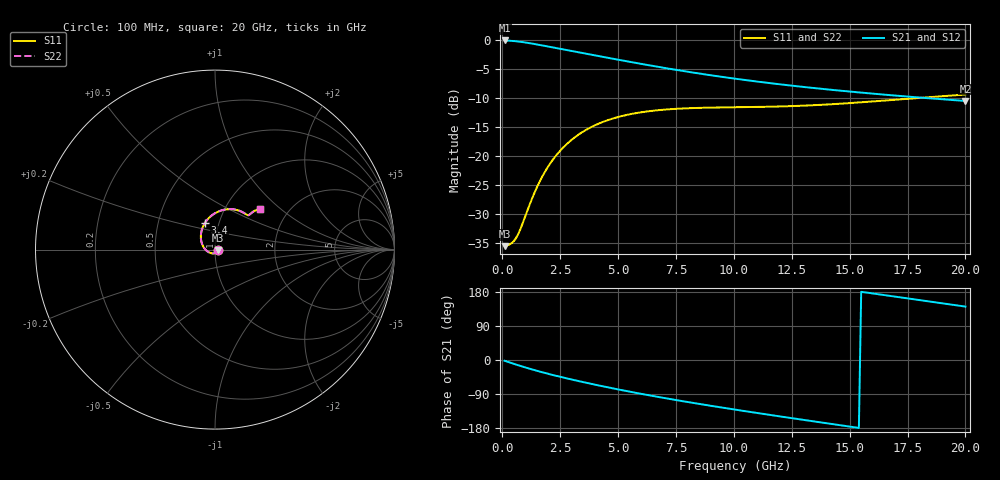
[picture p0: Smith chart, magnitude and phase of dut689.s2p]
! Touchstone file exported from HFSS 2024.1.0
!  File:  C:/UserFiles/LocalFiles/RDL_TSV_Batchsim/temp_RDL_TSV_689_1779818839.aedt
!  Generated:  02:20:42 AM May 27, 2026
!  Design:  RDL_TSV
!  Project:  temp_RDL_TSV_689_1779818839
!  Setup:  Setup1
!  Solution:  Sweep
! Variables:
!  dtsv = 14.27um
!  hbump = 3um
!  htsv = 98.1um
!  ldown = 340.53um
!  lrdl = 383.85um
!  p = 40
!  p1 = 45um
!  rhole = 10um
!  subl = 2556.99um
!  t = 450um
!  tdown = 4.58um
!  trdl = 4.24um
!  viad = 10um
!  wdown = 10.78um
!  wrdl = 14.07um
!  xbump = 18um
# GHz S MA R 50.000000
! Terminal data exported
! Port[1] = TM1_1_T1
! Port[2] = TM1_4_T1
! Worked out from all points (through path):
!   200 points, 100 MHz to 20 GHz, reference 50 ohm
!   highest |S21| = -0.15 dB at 100 MHz (marker M1); lowest = -10.6 dB at 20 GHz (marker M2)
!   group delay of S21, straight-line fit = 28.5 ps
!   lowest |S11| = -35.6 dB at 100 MHz (marker M3), VSWR 1.03, Z = 51.6 - j0.386 ohm
!   |S11| at or under -10 dB: start of sweep to 18.11 GHz
!   |S22| runs from -35.6 to -9.5 dB; largest |S21 - S12| = 1e-14
!   S11 on the Smith chart (normalised r, x): 100 MHz: 1.03, -0.01; 3.4 GHz: 0.86, +0.26; 20 GHz: 1.44, +0.74
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0.1  0.01663 -13.0  0.9828 -2.1  0.9828 -2.1  0.01663 -13.0
! Gamma 0 0 0 0
! Port Impedance 50 0 50 0
0.4  0.01761 -56.9  0.9753 -8.2  0.9753 -8.2  0.0176 -56.9
0.6  0.01962 -88.1  0.9668 -12.2  0.9668 -12.2  0.0196 -88.2
0.8  0.02382 -116.8  0.9561 -16.0  0.9561 -16.0  0.02381 -116.9
1.1  0.03432 -150.3  0.9369 -21.6  0.9369 -21.6  0.03435 -150.4
1.6  0.05908 173.6  0.9001 -30.3  0.9001 -30.3  0.05919 173.5
2  0.08174 154.1  0.8696 -36.7  0.8696 -36.7  0.08193 154.0
2.4  0.1047 138.9  0.8396 -42.9  0.8396 -42.9  0.105 138.8
2.9  0.1322 123.8  0.8036 -50.1  0.8036 -50.1  0.1325 123.7
3.4  0.157 111.5  0.7694 -57.1  0.7694 -57.1  0.1575 111.4
3.5  0.1616 109.3  0.7627 -58.4  0.7627 -58.4  0.1621 109.2
4.2  0.1902 95.8  0.7182 -67.6  0.7182 -67.6  0.1908 95.8
4.9  0.2126 85.0  0.6766 -76.4  0.6766 -76.4  0.2132 85.0
5.8  0.2332 74.0  0.6277 -87.0  0.6277 -87.0  0.2339 74.0
6.8  0.2474 64.8  0.5791 -98.2  0.5791 -98.2  0.2482 64.7
8.4  0.2578 54.7  0.5139 -114.9  0.5139 -114.9  0.2587 54.7
10.1  0.2614 48.9  0.4591 -131.4  0.4591 -131.4  0.2623 48.8
11.7  0.2645 46.4  0.4183 -146.2  0.4183 -146.2  0.2654 46.3
13.4  0.2719 45.5  0.3836 -161.5  0.3836 -161.5  0.2726 45.4
15  0.2838 45.3  0.3568 -175.7  0.3568 -175.7  0.2844 45.2
16.7  0.3006 44.8  0.3329 169.5  0.3329 169.5  0.3012 44.7
20  0.3366 42.1  0.2961 141.0  0.2961 141.0  0.3369 42.0
